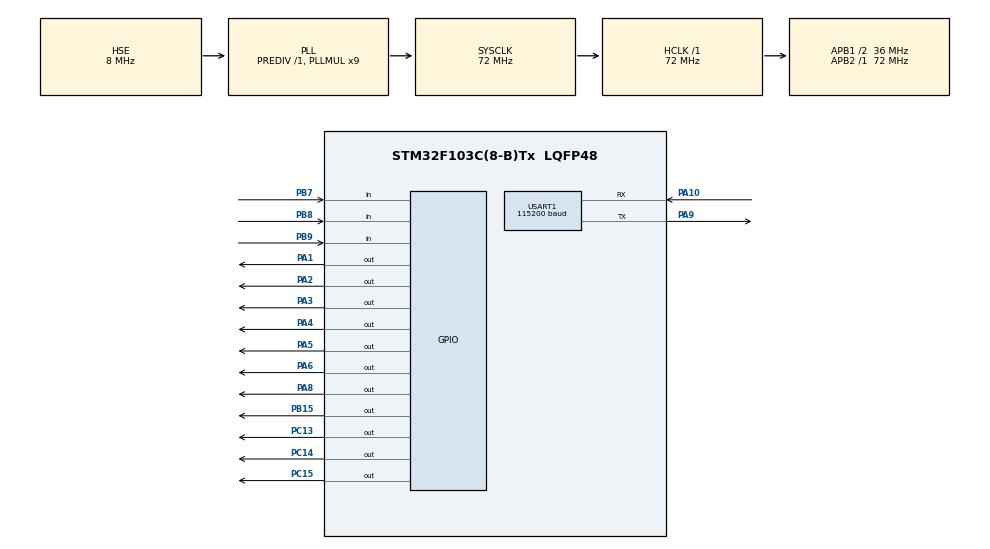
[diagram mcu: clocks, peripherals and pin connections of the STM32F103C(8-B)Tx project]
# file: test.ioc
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Mcu.Family=STM32F1
Mcu.Name=STM32F103C(8-B)Tx
Mcu.Package=LQFP48
NVIC.PriorityGroup=NVIC_PRIORITYGROUP_4
NVIC.TIM3_IRQn=true\:2\:0\:true\:false\:true\:true\:true\:true
NVIC.TIM4_IRQn=true\:1\:0\:true\:false\:true\:true\:true\:true
NVIC.USART1_IRQn=true\:0\:0\:true\:false\:true\:true\:true\:true
PA1.GPIO_Speed=GPIO_SPEED_FREQ_HIGH
PA1.Signal=GPIO_Output
PA10.Mode=Asynchronous
PA10.Signal=USART1_RX
PA13.Mode=Serial_Wire
PA13.Signal=SYS_JTMS-SWDIO
PA14.Mode=Serial_Wire
PA14.Signal=SYS_JTCK-SWCLK
PA2.GPIO_Speed=GPIO_SPEED_FREQ_HIGH
PA2.Signal=GPIO_Output
PA3.Signal=GPIO_Output
PA4.Signal=GPIO_Output
PA5.Signal=GPIO_Output
PA6.Signal=GPIO_Output
PA8.GPIO_Speed=GPIO_SPEED_FREQ_HIGH
PA8.Signal=GPIO_Output
PA9.Mode=Asynchronous
PA9.Signal=USART1_TX
PB15.Signal=GPIO_Output
PB7.GPIO_PuPd=GPIO_PULLUP
PB7.Signal=GPIO_Input
PB8.GPIO_PuPd=GPIO_PULLUP
PB8.Signal=GPIO_Input
PB9.GPIO_PuPd=GPIO_PULLUP
PB9.Signal=GPIO_Input
PC13-TAMPER-RTC.GPIO_PuPd=GPIO_PULLUP
PC13-TAMPER-RTC.PinState=GPIO_PIN_SET
PC13-TAMPER-RTC.Signal=GPIO_Output
PC14-OSC32_IN.Signal=GPIO_Output
PC15-OSC32_OUT.Signal=GPIO_Output
PD0-OSC_IN.Mode=HSE-External-Oscillator
PD0-OSC_IN.Signal=RCC_OSC_IN
PD1-OSC_OUT.Mode=HSE-External-Oscillator
PD1-OSC_OUT.Signal=RCC_OSC_OUT
ProjectManager.HeapSize=0x200
ProjectManager.StackSize=0x400
ProjectManager.TargetToolchain=MDK-ARM V5
RCC.AHBFreq_Value=72000000
RCC.APB1CLKDivider=RCC_HCLK_DIV2
RCC.APB1Freq_Value=36000000
RCC.APB1TimFreq_Value=72000000
RCC.APB2Freq_Value=72000000
RCC.APB2TimFreq_Value=72000000
RCC.HCLKFreq_Value=72000000
RCC.PLLMUL=RCC_PLL_MUL9
RCC.PLLSourceVirtual=RCC_PLLSOURCE_HSE
RCC.SYSCLKFreq_VALUE=72000000
RCC.SYSCLKSource=RCC_SYSCLKSOURCE_PLLCLK
RCC.USBFreq_Value=72000000
TIM3.Period=10-1
TIM3.Prescaler=72-1
TIM4.Period=1000-1
TIM4.Prescaler=720-1
USART1.BaudRate=115200
USART1.VirtualMode=VM_ASYNC
VP_TIM3_VS_ClockSourceINT.Mode=Internal
VP_TIM4_VS_ClockSourceINT.Mode=Internal
board=custom

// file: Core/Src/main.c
/* USER CODE BEGIN Header */
/*
   Gyro Compass
   Programmer: K-D
   Version: GyroCp LBCQ v2.1
*/
/* USER CODE END Header */
#include "main.h"

/* USER CODE BEGIN Includes */
#include <stdbool.h>

uint32_t TIMR3;
uint32_t timr3_curr;
uint32_t timr3_pass;
uint32_t cnt;
uint8_t RxData;
uint8_t MLRxData[14];
uint8_t TxData[5] = {0x77, 0x04, 0x00, 0x04, 0x08};
// uint8_t TxData[6] = {0x77, 0x05, 0x00, 0x0B, 0x04, 0x14};
typedef enum
{
  CK_77,
  CK_0D,
  CK_00,
  CK_84,
  READ_X1,
  READ_X2,
  READ_X3,
  READ_Y1,
  READ_Y2,
  READ_Y3,
  READ_Z1,
  READ_Z2,
  READ_Z3,
  CHECKSUM
} STATE;
typedef enum
{
  READY,
  CHECK,
  DONE
} STATE_BTN;
STATE state = CK_77;
STATE_BTN state_btn = READY;

int32_t Ang_curr;
int32_t Ang_old;
int32_t Denta_Ang;
int32_t Poss_target;
int32_t Poss_real;

uint32_t lastDebounceTime;

uint8_t byte1, byte2, byte3;

uint8_t csm;

bool btn = false;
bool btn_old = true;
bool btn_flag = false;
bool reading;

bool chanA_bit_old;
/* USER CODE END Includes */

TIM_HandleTypeDef htim3;
TIM_HandleTypeDef htim4;

UART_HandleTypeDef huart1;

void SystemClock_Config(void);
static void MX_GPIO_Init(void);
static void MX_USART1_UART_Init(void);
static void MX_TIM4_Init(void);
static void MX_TIM3_Init(void);
/* USER CODE BEGIN PFP */
void KD_delay(uint32_t tm);
/* USER CODE END PFP */

/* USER CODE BEGIN 0 */

void HAL_TIM_PeriodElapsedCallback(TIM_HandleTypeDef *htim)
{

  if (htim->Instance == TIM4)
  {
    HAL_GPIO_WritePin(GPIOA, GPIO_PIN_8, GPIO_PIN_SET);
    HAL_UART_Transmit(&huart1, TxData, 5, 10);

    HAL_GPIO_WritePin(GPIOA, GPIO_PIN_8, GPIO_PIN_RESET);

    Denta_Ang = Ang_curr - Ang_old;
    if (btn == true)
      Denta_Ang = 0;
    Ang_old = Ang_curr;
    if (Denta_Ang >= -36000 && Denta_Ang < -18000)
    {
      Poss_target += (Denta_Ang + 36000);
    }
    else if (Denta_Ang >= -18000 && Denta_Ang <= 18000)
    {
      Poss_target += Denta_Ang;
    }
    else if (Denta_Ang > 18000 && Denta_Ang <= 36000)
    {
      Poss_target -= (36000 - Denta_Ang);
    }
  }

  if (htim->Instance == TIM3)
  {
    TIMR3++;
  }
}

void HAL_UART_RxCpltCallback(UART_HandleTypeDef *huart)
{
  HAL_UART_Receive_IT(&huart1, &RxData, 1);
  //	HAL_UART_Receive_IT(&huart1, MLRxData, 14);
  //	HAL_UART_Receive_DMA(&huart1, &RxData, 1);
  switch (state)
  {
  case CK_77:
    if (RxData == 0x77)
    {
      state = CK_0D;
    }
    break;
  case CK_0D:
    if (RxData == 0x0D)
    {
      csm += RxData;
      state = CK_00;
    }
    else
    {
      state = CK_77;
    }
    break;
  case CK_00:
    if (RxData == 0x00)
    {
      csm += RxData;
      state = CK_84;
    }
    else
    {
      state = CK_77;
    }
    break;
  case CK_84:
    if (RxData == 0x84)
    {
      csm += RxData;
      state = READ_X1;
    }
    else
    {
      state = CK_77;
    }
    break;
  case READ_X1:
    state = READ_X2;
    csm += RxData;
    break;
  case READ_X2:
    state = READ_X3;
    csm += RxData;
    break;
  case READ_X3:
    state = READ_Y1;
    csm += RxData;
    break;
  case READ_Y1:
    state = READ_Y2;
    csm += RxData;
    break;
  case READ_Y2:
    state = READ_Y3;
    csm += RxData;
    break;
  case READ_Y3:
    state = READ_Z1;
    csm += RxData;
    break;
  case READ_Z1:
    byte1 = RxData;
    csm += RxData;
    //        Ang_curr = (RxData & 0x0F) * 10000;
    state = READ_Z2;
    break;
  case READ_Z2:
    byte2 = RxData;
    csm += RxData;
    //        Ang_curr += ((RxData & 0xF0) >> 4) * 1000;
    //        Ang_curr += (RxData & 0x0F) * 100;
    state = READ_Z3;
    break;
  case READ_Z3:
    byte3 = RxData;
    csm += RxData;
    //        Ang_curr += ((RxData & 0xF0) >> 4) * 10;
    //        Ang_curr += (RxData & 0x0F);
    state = CHECKSUM;
    break;
  case CHECKSUM:
    if (RxData == csm)
    {
      cnt++;
      Ang_curr = (byte1 & 0x0F) * 10000;
      Ang_curr += ((byte2 & 0xF0) >> 4) * 1000;
      Ang_curr += (byte2 & 0x0F) * 100;
      Ang_curr += ((byte3 & 0xF0) >> 4) * 10;
      Ang_curr += (byte3 & 0x0F);
      csm = 0;
    }
    state = CK_77;
    break;
  default:
    break;
  }
}
/* USER CODE END 0 */

int main(void)
{

  /* MCU Configuration--------------------------------------------------------*/

  /* Reset of all peripherals, Initializes the Flash interface and the Systick. */
  HAL_Init();

  /* Configure the system clock */
  SystemClock_Config();

  /* Initialize all configured peripherals */
  MX_GPIO_Init();
  MX_USART1_UART_Init();
  MX_TIM4_Init();
  MX_TIM3_Init();
  /* USER CODE BEGIN 2 */
  HAL_TIM_Base_Start_IT(&htim4);
  HAL_TIM_Base_Start_IT(&htim3);
  HAL_UART_Receive_IT(&huart1, &RxData, 1);

  //	HAL_UART_Receive_IT(&huart1, MLRxData, 14);
  HAL_GPIO_WritePin(GPIOA, GPIO_PIN_6, GPIO_PIN_RESET);
  HAL_GPIO_WritePin(GPIOA, GPIO_PIN_5, 0);
  HAL_GPIO_WritePin(GPIOA, GPIO_PIN_4, 1);
  HAL_GPIO_WritePin(GPIOA, GPIO_PIN_3, 0);
  /* USER CODE END 2 */

  /* Infinite loop */
  while (1)
  {

    /* USER CODE BEGIN 3 */
    //=================================================================================
    //		TIMR3 = 0;
    //		while(TIMR3 < 40){
    //			HAL_GPIO_WritePin(GPIOC, GPIO_PIN_13,1);
    //		}
    //		HAL_GPIO_TogglePin(GPIOA, GPIO_PIN_1);
    //=================================================================================
    //		if(cnt < 1600){
    //			timr3_curr = TIMR3;
    //			if(timr3_curr - timr3_pass > 100){
    //				timr3_pass = timr3_curr;
    //				HAL_GPIO_TogglePin(GPIOC, GPIO_PIN_13);
    //				HAL_GPIO_WritePin(GPIOA, GPIO_PIN_1,1);
    //				KD_delay(1);
    //				HAL_GPIO_WritePin(GPIOA, GPIO_PIN_1,0);
    //				cnt++;
    //			}
    //		}
    //		if(cnt == 1600){
    //			HAL_Delay(1000);
    //			cnt = 0;
    //		}
    //===================================================================================
    timr3_curr = TIMR3;
    if (timr3_curr - timr3_pass > 100)
    {
      timr3_pass = timr3_curr;
      if (Poss_real > (int32_t)(Poss_target * 2 / 45))
      {
        HAL_GPIO_WritePin(GPIOA, GPIO_PIN_2, 1);
        HAL_GPIO_WritePin(GPIOA, GPIO_PIN_1, 1);
        KD_delay(1);
        HAL_GPIO_WritePin(GPIOA, GPIO_PIN_1, 0);
        Poss_real -= 1;
      }
      else if (Poss_real < (int32_t)(Poss_target * 2 / 45))
      {
        HAL_GPIO_WritePin(GPIOA, GPIO_PIN_2, 0);
        HAL_GPIO_WritePin(GPIOA, GPIO_PIN_1, 1);
        KD_delay(1);
        HAL_GPIO_WritePin(GPIOA, GPIO_PIN_1, 0);
        Poss_real += 1;
      }
    }
    //===================================================================================
    //		reading = HAL_GPIO_ReadPin(GPIOB,GPIO_PIN_9);
    //		if (reading == false && btn_old == true) {
    //      if (TIMR3 - lastDebounceTime > 50000) {
    //          btn = !btn;
    //				HAL_GPIO_WritePin(GPIOC, GPIO_PIN_13,!btn);

    //          lastDebounceTime = TIMR3;
    //      }
    //    }
    //		btn_old = reading;
    reading = HAL_GPIO_ReadPin(GPIOB, GPIO_PIN_9);
    switch (state_btn)
    {
    case READY:
      if (reading == false)
      {
        state_btn = CHECK;
        lastDebounceTime = TIMR3;
      }
      break;
    case CHECK:
      if (TIMR3 - lastDebounceTime > 100000)
      {
        if (reading == false)
        {
          btn = !btn;
          HAL_GPIO_WritePin(GPIOC, GPIO_PIN_13, !btn);
          state_btn = READY;
        }
        else
        {
          state_btn = READY;
        }
      }
      break;
    case DONE:
      btn = !btn;
      HAL_GPIO_WritePin(GPIOC, GPIO_PIN_13, !btn);
      state_btn = READY;
      break;
    default:
      break;
    }

    if (btn == true)
    {
      bool chanA_bit = HAL_GPIO_ReadPin(GPIOB, GPIO_PIN_7);
      if (chanA_bit != chanA_bit_old)
      {
        if (HAL_GPIO_ReadPin(GPIOB, GPIO_PIN_8) != chanA_bit)
        {
          Poss_target += 25;
        }
        else
        {
          Poss_target -= 25;
          //          Serial.println("DECRE");
        }
      }
      chanA_bit_old = chanA_bit;
    }
    //===================================================================================
  }
  /* USER CODE END 3 */
}

void SystemClock_Config(void)
{
  RCC_OscInitTypeDef RCC_OscInitStruct = {0};
  RCC_ClkInitTypeDef RCC_ClkInitStruct = {0};

  /** Initializes the RCC Oscillators according to the specified parameters
   * in the RCC_OscInitTypeDef structure.
   */
  RCC_OscInitStruct.OscillatorType = RCC_OSCILLATORTYPE_HSE;
  RCC_OscInitStruct.HSEState = RCC_HSE_ON;
  RCC_OscInitStruct.HSEPredivValue = RCC_HSE_PREDIV_DIV1;
  RCC_OscInitStruct.HSIState = RCC_HSI_ON;
  RCC_OscInitStruct.PLL.PLLState = RCC_PLL_ON;
  RCC_OscInitStruct.PLL.PLLSource = RCC_PLLSOURCE_HSE;
  RCC_OscInitStruct.PLL.PLLMUL = RCC_PLL_MUL9;
  if (HAL_RCC_OscConfig(&RCC_OscInitStruct) != HAL_OK)
  {
    Error_Handler();
  }

  /** Initializes the CPU, AHB and APB buses clocks
   */
  RCC_ClkInitStruct.ClockType = RCC_CLOCKTYPE_HCLK | RCC_CLOCKTYPE_SYSCLK | RCC_CLOCKTYPE_PCLK1 | RCC_CLOCKTYPE_PCLK2;
  RCC_ClkInitStruct.SYSCLKSource = RCC_SYSCLKSOURCE_PLLCLK;
  RCC_ClkInitStruct.AHBCLKDivider = RCC_SYSCLK_DIV1;
  RCC_ClkInitStruct.APB1CLKDivider = RCC_HCLK_DIV2;
  RCC_ClkInitStruct.APB2CLKDivider = RCC_HCLK_DIV1;

  if (HAL_RCC_ClockConfig(&RCC_ClkInitStruct, FLASH_LATENCY_2) != HAL_OK)
  {
    Error_Handler();
  }
}

static void MX_TIM3_Init(void)
{

  TIM_ClockConfigTypeDef sClockSourceConfig = {0};
  TIM_MasterConfigTypeDef sMasterConfig = {0};

  htim3.Instance = TIM3;
  htim3.Init.Prescaler = 72 - 1;
  htim3.Init.CounterMode = TIM_COUNTERMODE_UP;
  htim3.Init.Period = 10 - 1;
  htim3.Init.ClockDivision = TIM_CLOCKDIVISION_DIV1;
  htim3.Init.AutoReloadPreload = TIM_AUTORELOAD_PRELOAD_DISABLE;
  if (HAL_TIM_Base_Init(&htim3) != HAL_OK)
  {
    Error_Handler();
  }
  sClockSourceConfig.ClockSource = TIM_CLOCKSOURCE_INTERNAL;
  if (HAL_TIM_ConfigClockSource(&htim3, &sClockSourceConfig) != HAL_OK)
  {
    Error_Handler();
  }
  sMasterConfig.MasterOutputTrigger = TIM_TRGO_RESET;
  sMasterConfig.MasterSlaveMode = TIM_MASTERSLAVEMODE_DISABLE;
  if (HAL_TIMEx_MasterConfigSynchronization(&htim3, &sMasterConfig) != HAL_OK)
  {
    Error_Handler();
  }
}

static void MX_TIM4_Init(void)
{

  TIM_ClockConfigTypeDef sClockSourceConfig = {0};
  TIM_MasterConfigTypeDef sMasterConfig = {0};

  htim4.Instance = TIM4;
  htim4.Init.Prescaler = 720 - 1;
  htim4.Init.CounterMode = TIM_COUNTERMODE_UP;
  htim4.Init.Period = 1000 - 1;
  htim4.Init.ClockDivision = TIM_CLOCKDIVISION_DIV1;
  htim4.Init.AutoReloadPreload = TIM_AUTORELOAD_PRELOAD_DISABLE;
  if (HAL_TIM_Base_Init(&htim4) != HAL_OK)
  {
    Error_Handler();
  }
  sClockSourceConfig.ClockSource = TIM_CLOCKSOURCE_INTERNAL;
  if (HAL_TIM_ConfigClockSource(&htim4, &sClockSourceConfig) != HAL_OK)
  {
    Error_Handler();
  }
  sMasterConfig.MasterOutputTrigger = TIM_TRGO_RESET;
  sMasterConfig.MasterSlaveMode = TIM_MASTERSLAVEMODE_DISABLE;
  if (HAL_TIMEx_MasterConfigSynchronization(&htim4, &sMasterConfig) != HAL_OK)
  {
    Error_Handler();
  }
}

static void MX_USART1_UART_Init(void)
{

  huart1.Instance = USART1;
  huart1.Init.BaudRate = 115200;
  huart1.Init.WordLength = UART_WORDLENGTH_8B;
  huart1.Init.StopBits = UART_STOPBITS_1;
  huart1.Init.Parity = UART_PARITY_NONE;
  huart1.Init.Mode = UART_MODE_TX_RX;
  huart1.Init.HwFlowCtl = UART_HWCONTROL_NONE;
  huart1.Init.OverSampling = UART_OVERSAMPLING_16;
  if (HAL_UART_Init(&huart1) != HAL_OK)
  {
    Error_Handler();
  }
}

static void MX_GPIO_Init(void)
{
  GPIO_InitTypeDef GPIO_InitStruct = {0};

  /* GPIO Ports Clock Enable */
  __HAL_RCC_GPIOC_CLK_ENABLE();
  __HAL_RCC_GPIOD_CLK_ENABLE();
  __HAL_RCC_GPIOA_CLK_ENABLE();
  __HAL_RCC_GPIOB_CLK_ENABLE();

  /*Configure GPIO pin Output Level */
  HAL_GPIO_WritePin(GPIOC, GPIO_PIN_13, GPIO_PIN_SET);

  /*Configure GPIO pin Output Level */
  HAL_GPIO_WritePin(GPIOC, GPIO_PIN_14 | GPIO_PIN_15, GPIO_PIN_RESET);

  /*Configure GPIO pin Output Level */
  HAL_GPIO_WritePin(GPIOA, GPIO_PIN_1 | GPIO_PIN_2 | GPIO_PIN_3 | GPIO_PIN_4 | GPIO_PIN_5 | GPIO_PIN_6 | GPIO_PIN_8, GPIO_PIN_RESET);

  /*Configure GPIO pin Output Level */
  HAL_GPIO_WritePin(GPIOB, GPIO_PIN_15, GPIO_PIN_RESET);

  /*Configure GPIO pin : PC13 */
  GPIO_InitStruct.Pin = GPIO_PIN_13;
  GPIO_InitStruct.Mode = GPIO_MODE_OUTPUT_PP;
  GPIO_InitStruct.Pull = GPIO_PULLUP;
  GPIO_InitStruct.Speed = GPIO_SPEED_FREQ_LOW;
  HAL_GPIO_Init(GPIOC, &GPIO_InitStruct);

  /*Configure GPIO pins : PC14 PC15 */
  GPIO_InitStruct.Pin = GPIO_PIN_14 | GPIO_PIN_15;
  GPIO_InitStruct.Mode = GPIO_MODE_OUTPUT_PP;
  GPIO_InitStruct.Pull = GPIO_NOPULL;
  GPIO_InitStruct.Speed = GPIO_SPEED_FREQ_LOW;
  HAL_GPIO_Init(GPIOC, &GPIO_InitStruct);

  /*Configure GPIO pins : PA1 PA2 PA8 */
  GPIO_InitStruct.Pin = GPIO_PIN_1 | GPIO_PIN_2 | GPIO_PIN_8;
  GPIO_InitStruct.Mode = GPIO_MODE_OUTPUT_PP;
  GPIO_InitStruct.Pull = GPIO_NOPULL;
  GPIO_InitStruct.Speed = GPIO_SPEED_FREQ_HIGH;
  HAL_GPIO_Init(GPIOA, &GPIO_InitStruct);

  /*Configure GPIO pins : PA3 PA4 PA5 PA6 */
  GPIO_InitStruct.Pin = GPIO_PIN_3 | GPIO_PIN_4 | GPIO_PIN_5 | GPIO_PIN_6;
  GPIO_InitStruct.Mode = GPIO_MODE_OUTPUT_PP;
  GPIO_InitStruct.Pull = GPIO_NOPULL;
  GPIO_InitStruct.Speed = GPIO_SPEED_FREQ_LOW;
  HAL_GPIO_Init(GPIOA, &GPIO_InitStruct);

  /*Configure GPIO pin : PB15 */
  GPIO_InitStruct.Pin = GPIO_PIN_15;
  GPIO_InitStruct.Mode = GPIO_MODE_OUTPUT_PP;
  GPIO_InitStruct.Pull = GPIO_NOPULL;
  GPIO_InitStruct.Speed = GPIO_SPEED_FREQ_LOW;
  HAL_GPIO_Init(GPIOB, &GPIO_InitStruct);

  /*Configure GPIO pins : PB7 PB8 PB9 */
  GPIO_InitStruct.Pin = GPIO_PIN_7 | GPIO_PIN_8 | GPIO_PIN_9;
  GPIO_InitStruct.Mode = GPIO_MODE_INPUT;
  GPIO_InitStruct.Pull = GPIO_PULLUP;
  HAL_GPIO_Init(GPIOB, &GPIO_InitStruct);

}

/* USER CODE BEGIN 4 */
//============================================================================================================
void KD_delay(uint32_t tm)
{
  uint32_t tm_curr = TIMR3;
  while (TIMR3 - tm_curr < tm)
  {
    HAL_GPIO_TogglePin(GPIOC, GPIO_PIN_15);
  }
}
//============================================================================================================
/* USER CODE END 4 */

void Error_Handler(void)
{
  __disable_irq();
  while (1)
  {
  }
}
